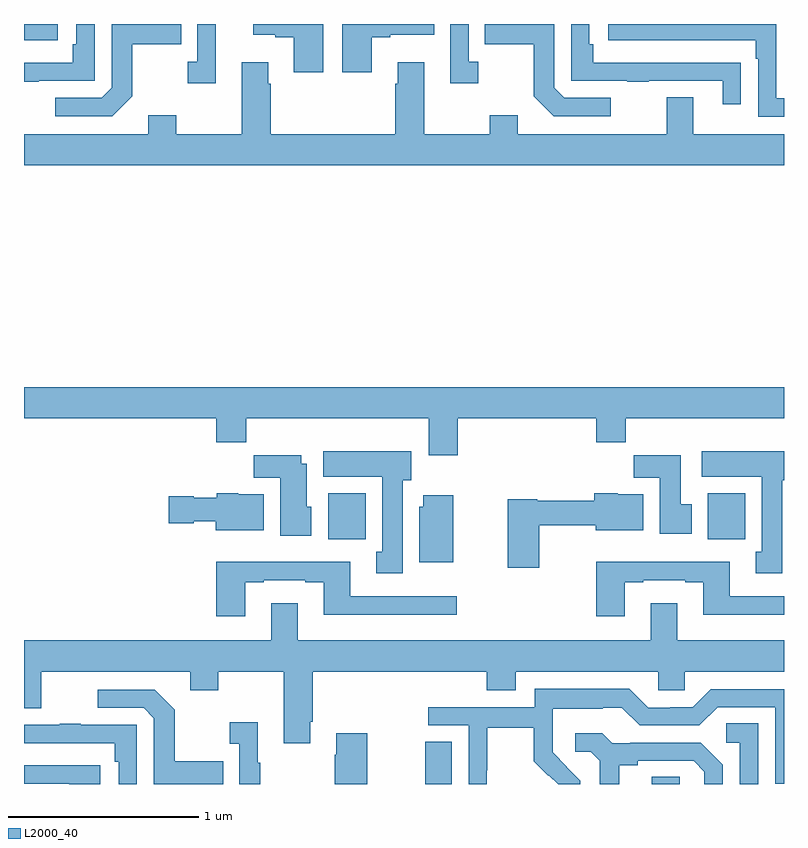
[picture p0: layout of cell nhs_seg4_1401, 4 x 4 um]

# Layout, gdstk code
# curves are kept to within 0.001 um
import gdstk
lib = gdstk.Library(unit=1e-6, precision=1e-09)
def R(c, l, rs):  # rectangles x0, y0, x1, y1
    for r in rs: c.add(gdstk.rectangle(r[:2], r[2:], *l))
def P(c, l, *ps):  # polygons
    for p in ps: c.add(gdstk.Polygon(p, *l))
L2000_40 = (2000, 40)

nhs_seg4_1401 = lib.new_cell('nhs_seg4_1401')
R(nhs_seg4_1401, L2000_40, [(185.113,790.9,185.251,791.123), (186.305,790.9,186.45,790.937), (184.601,792.188,184.798,792.43), (186.599,792.188,186.796,792.43), (183,794.814,183.178,794.9)])
P(nhs_seg4_1401, L2000_40, [(187,794.508),(186.96,794.508),(186.96,794.9),(186.075,794.9),(186.075,794.814),(186.851,794.814),(186.851,794.717),(186.864,794.717),(186.864,794.412),(187,794.412)],
  [(184.831,794.831),(184.927,794.831),(184.927,794.843),(185.158,794.843),(185.158,794.9),(184.676,794.9),(184.676,794.646),(184.831,794.646)],
  [(185.392,794.702),(185.34,794.702),(185.34,794.9),(185.244,794.9),(185.244,794.589),(185.392,794.589)],
  [(184.01,794.9),(183.912,794.9),(183.912,794.702),(183.861,794.702),(183.861,794.589),(184.01,794.589)],
  [(186.773,794.696),(186.671,794.696),(186.671,794.697),(185.996,794.697),(185.996,794.794),(185.976,794.794),(185.976,794.9),(185.88,794.9),(185.88,794.601),(186.175,794.601),(186.175,794.596),(186.287,794.596),(186.287,794.601),(186.677,794.601),(186.677,794.478),(186.773,794.478)],
  [(183.077,794.601),(183.372,794.601),(183.372,794.9),(183.276,794.9),(183.276,794.794),(183.256,794.794),(183.256,794.697),(183,794.697),(183,794.596),(183.077,794.596)],
  [(184.576,794.9),(184.206,794.9),(184.206,794.843),(184.322,794.843),(184.322,794.831),(184.421,794.831),(184.421,794.646),(184.576,794.646)],
  [(183.571,794.521),(183.571,794.794),(183.827,794.794),(183.827,794.9),(183.462,794.9),(183.462,794.565),(183.408,794.511),(183.165,794.511),(183.165,794.415),(183.465,794.415)],
  [(186.088,794.511),(185.844,794.511),(185.79,794.565),(185.79,794.9),(185.425,794.9),(185.425,794.794),(185.682,794.794),(185.682,794.521),(185.787,794.415),(186.088,794.415)],
  [(187,794.32),(186.523,794.32),(186.523,794.515),(186.383,794.515),(186.383,794.32),(185.599,794.32),(185.599,794.419),(185.452,794.419),(185.452,794.32),(185.107,794.32),(185.107,794.698),(184.967,794.698),(184.967,794.585),(184.955,794.585),(184.955,794.32),(184.298,794.32),(184.298,794.585),(184.285,794.585),(184.285,794.698),(184.145,794.698),(184.145,794.32),(183.801,794.32),(183.801,794.419),(183.653,794.419),(183.653,794.32),(183,794.32),(183,794.156),(187,794.156)],
  [(185.282,792.824),(186.011,792.824),(186.011,792.7),(186.167,792.7),(186.167,792.824),(187,792.824),(187,792.988),(183,792.988),(183,792.824),(184.013,792.824),(184.013,792.7),(184.169,792.7),(184.169,792.824),(185.129,792.824),(185.129,792.63),(185.282,792.63)],
  [(186.991,792.498),(187,792.498),(187,792.652),(186.567,792.652),(186.567,792.518),(186.884,792.518),(186.884,792.122),(186.851,792.122),(186.851,792.009),(186.991,792.009)],
  [(184.993,792.498),(185.038,792.498),(185.038,792.652),(184.574,792.652),(184.574,792.518),(184.886,792.518),(184.886,792.122),(184.853,792.122),(184.853,792.009),(184.993,792.009)],
  [(186.514,792.372),(186.457,792.372),(186.457,792.631),(186.208,792.631),(186.208,792.512),(186.347,792.512),(186.347,792.216),(186.514,792.216)],
  [(184.513,792.36),(184.489,792.36),(184.489,792.586),(184.459,792.586),(184.459,792.631),(184.21,792.631),(184.21,792.512),(184.349,792.512),(184.349,792.206),(184.513,792.206)],
  [(185.712,792.262),(186.008,792.262),(186.008,792.236),(186.259,792.236),(186.259,792.424),(186.126,792.424),(186.126,792.43),(186.001,792.43),(186.001,792.391),(185.7,792.391),(185.7,792.399),(185.546,792.399),(185.546,792.039),(185.712,792.039)],
  [(184.261,792.424),(184.128,792.424),(184.128,792.43),(184.014,792.43),(184.014,792.406),(183.894,792.406),(183.894,792.414),(183.762,792.414),(183.762,792.272),(183.894,792.272),(183.894,792.284),(184.01,792.284),(184.01,792.236),(184.261,792.236)],
  [(185.26,792.421),(185.102,792.421),(185.102,792.36),(185.081,792.36),(185.081,792.068),(185.26,792.068)],
  [(184.165,791.961),(184.261,791.961),(184.261,791.973),(184.481,791.973),(184.481,791.961),(184.577,791.961),(184.577,791.792),(185.278,791.792),(185.278,791.889),(184.717,791.889),(184.717,792.07),(184.013,792.07),(184.013,791.784),(184.165,791.784)],
  [(186.163,791.961),(186.259,791.961),(186.259,791.973),(186.479,791.973),(186.479,791.961),(186.575,791.961),(186.575,791.792),(187,791.792),(187,791.889),(186.715,791.889),(186.715,792.07),(186.011,792.07),(186.011,791.784),(186.163,791.784)],
  [(184.507,791.227),(184.52,791.227),(184.52,791.492),(185.435,791.492),(185.435,791.393),(185.587,791.393),(185.587,791.492),(186.339,791.492),(186.339,791.394),(186.477,791.394),(186.477,791.492),(187,791.492),(187,791.656),(186.439,791.656),(186.439,791.851),(186.299,791.851),(186.299,791.656),(184.441,791.656),(184.441,791.851),(184.301,791.851),(184.301,791.656),(183,791.656),(183,791.298),(183.091,791.298),(183.091,791.492),(183.875,791.492),(183.875,791.393),(184.023,791.393),(184.023,791.492),(184.367,791.492),(184.367,791.115),(184.507,791.115)],
  [(185.436,790.972),(185.439,790.972),(185.439,791.196),(185.683,791.196),(185.683,791.021),(185.76,790.944),(185.763,790.947),(185.811,790.9),(185.928,790.9),(185.928,790.918),(185.782,791.066),(185.782,791.163),(185.784,791.163),(185.784,791.297),(186.047,791.297),(186.047,791.301),(186.147,791.301),(186.24,791.208),(186.555,791.208),(186.651,791.304),(186.954,791.304),(186.954,790.902),(187,790.902),(187,791.4),(186.615,791.4),(186.519,791.304),(186.401,791.304),(186.401,791.301),(186.285,791.301),(186.185,791.401),(185.688,791.401),(185.688,791.304),(185.127,791.304),(185.127,791.208),(185.34,791.208),(185.34,790.9),(185.436,790.9)],
  [(184.049,791.019),(183.793,791.019),(183.793,791.291),(183.687,791.397),(183.387,791.397),(183.387,791.301),(183.63,791.301),(183.684,791.247),(183.684,790.9),(184.049,790.9)],
  [(184.243,791.011),(184.231,791.011),(184.231,791.224),(184.083,791.224),(184.083,791.111),(184.134,791.111),(184.134,790.9),(184.243,790.9)],
  [(186.864,791.219),(186.696,791.219),(186.696,791.118),(186.768,791.118),(186.768,790.9),(186.864,790.9)],
  [(183.594,791.211),(183.299,791.211),(183.299,791.216),(183.187,791.216),(183.187,791.211),(183,791.211),(183,791.115),(183.478,791.115),(183.478,791.018),(183.498,791.018),(183.498,790.9),(183.594,790.9)],
  [(184.806,791.167),(184.643,791.167),(184.643,791.054),(184.636,791.054),(184.636,790.9),(184.806,790.9)],
  [(186.133,791),(186.229,791),(186.229,791.022),(186.524,791.022),(186.581,790.965),(186.581,790.9),(186.678,790.9),(186.678,791.002),(186.562,791.118),(186.19,791.118),(186.19,791.115),(186.096,791.115),(186.044,791.167),(185.901,791.167),(185.901,791.07),(185.982,791.07),(186.029,791.023),(186.029,790.9),(186.133,790.9)],
  [(183.4,790.998),(183,790.998),(183,790.902),(183.239,790.902),(183.239,790.9),(183.4,790.9)])

lib.write_gds('nhs_seg4_1401.gds')
